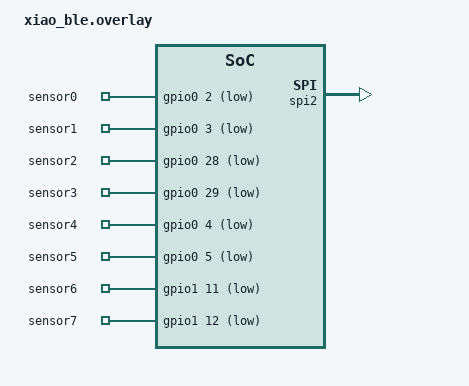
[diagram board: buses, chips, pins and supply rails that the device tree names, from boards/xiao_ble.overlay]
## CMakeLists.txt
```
cmake_minimum_required(VERSION 3.20.0)
find_package(Zephyr REQUIRED HINTS $ENV{ZEPHYR_BASE})
project(bme690_logger)

target_sources(app PRIVATE src/main.c src/bme690_zephyr.c ../common/bme690.c)
target_include_directories(app PRIVATE src ../common)
```

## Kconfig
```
source "Kconfig.zephyr"

config BME690_LOG_LEVEL
	int "BME690 driver log level"
	default 3
	help
	  0 none, 1 error, 2 warning, 3 info, 4 debug.
```

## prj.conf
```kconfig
# Sensors sit on a shared SPI bus, one chip select each.
CONFIG_SPI=y
CONFIG_GPIO=y

# Compensation is double-precision in Bosch's reference; keep it that way so
# readings match the desktop tooling bit for bit.
CONFIG_FPU=y
CONFIG_CBPRINTF_FP_SUPPORT=y

# Console over USB CDC-ACM: the XIAO has no spare UART pins once eight chip
# selects are allocated.
CONFIG_USB_DEVICE_STACK=y
CONFIG_USB_DEVICE_PRODUCT="BME690 logger"
CONFIG_USB_CDC_ACM=y
CONFIG_UART_LINE_CTRL=y
CONFIG_CONSOLE=y
CONFIG_UART_CONSOLE=y

CONFIG_LOG=y
CONFIG_LOG_MODE_IMMEDIATE=y

CONFIG_MAIN_STACK_SIZE=4096
CONFIG_HEAP_MEM_POOL_SIZE=4096
```

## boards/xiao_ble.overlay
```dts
/*
 * Seeed XIAO nRF52840 + BME690 8x Shuttle Board 3.0.
 *
 * Pin budget is exact: D8-D10 carry SPI, D0-D7 are the eight chip selects.
 *
 *   shuttle Row 1 pin 1  Vdd     -> 3V3
 *   shuttle Row 1 pin 2  VddIO   -> 3V3
 *   shuttle Row 1 pin 3  Gnd     -> GND
 *   shuttle Row 2 pin 2  SCK     -> D8  (P1.13)
 *   shuttle Row 2 pin 3  SDO     -> D9  (P1.14)  sensor out, MCU MISO
 *   shuttle Row 2 pin 4  SDI     -> D10 (P1.15)  sensor in,  MCU MOSI
 *
 *   sensor 0  Row 1 pin 4  GPIO0 -> D0 (P0.02)
 *   sensor 1  Row 1 pin 5  GPIO1 -> D1 (P0.03)
 *   sensor 2  Row 1 pin 6  GPIO2 -> D2 (P0.28)
 *   sensor 3  Row 1 pin 7  GPIO3 -> D3 (P0.29)
 *   sensor 4  Row 2 pin 5  GPIO4 -> D4 (P0.04)
 *   sensor 5  Row 2 pin 6  GPIO5 -> D5 (P0.05)
 *   sensor 6  Row 2 pin 7  GPIO6 -> D6 (P1.11)
 *   sensor 7  Row 2 pin 8  GPIO7 -> D7 (P1.12)
 */

&spi2 {
	status = "okay";
	cs-gpios = <&gpio0 2  GPIO_ACTIVE_LOW>;
};

/ {
	bme690_shuttle: bme690-shuttle {
		compatible = "gpio-keys";   /* convenient container for a gpio list */
		cs0: cs_0 { gpios = <&gpio0 2  GPIO_ACTIVE_LOW>; label = "sensor0"; };
		cs1: cs_1 { gpios = <&gpio0 3  GPIO_ACTIVE_LOW>; label = "sensor1"; };
		cs2: cs_2 { gpios = <&gpio0 28 GPIO_ACTIVE_LOW>; label = "sensor2"; };
		cs3: cs_3 { gpios = <&gpio0 29 GPIO_ACTIVE_LOW>; label = "sensor3"; };
		cs4: cs_4 { gpios = <&gpio0 4  GPIO_ACTIVE_LOW>; label = "sensor4"; };
		cs5: cs_5 { gpios = <&gpio0 5  GPIO_ACTIVE_LOW>; label = "sensor5"; };
		cs6: cs_6 { gpios = <&gpio1 11 GPIO_ACTIVE_LOW>; label = "sensor6"; };
		cs7: cs_7 { gpios = <&gpio1 12 GPIO_ACTIVE_LOW>; label = "sensor7"; };
	};
};
```

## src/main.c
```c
/*
 * BME690 8x shuttle board logger.
 *
 * Runs all eight sensors in parallel mode on a ten-step heater profile and
 * streams one record per heater step over USB serial. Each sensor walks its
 * profile autonomously and tags every result with the step index, so the MCU
 * only has to poll often enough not to miss a step.
 *
 * SPDX-License-Identifier: MIT
 */
#include "bme690.h"
#include "bme690_zephyr.h"
#include <zephyr/kernel.h>
#include <zephyr/device.h>
#include <zephyr/drivers/gpio.h>
#include <zephyr/drivers/spi.h>
#include <zephyr/logging/log.h>
#include <zephyr/usb/usb_device.h>

LOG_MODULE_REGISTER(main, LOG_LEVEL_INF);

#define NUM_SENSORS 8
#define POLL_MS     40

/* HP-354, Bosch's standard scanning profile: ten steps, 140 ms time base,
 * 77 * 140 ms = 10.78 s per cycle. */
#define HEATER_TIME_BASE_MS 140
static const uint16_t hp354_temp[BME690_PROFILE_LEN] = {
	320, 100, 100, 100, 200, 200, 200, 320, 320, 320,
};
static const uint16_t hp354_dur[BME690_PROFILE_LEN] = {
	5, 2, 10, 30, 5, 5, 5, 5, 5, 5,
};

#define CS_SPEC(node) GPIO_DT_SPEC_GET(DT_NODELABEL(node), gpios)
static const struct gpio_dt_spec cs_pins[NUM_SENSORS] = {
	CS_SPEC(cs0), CS_SPEC(cs1), CS_SPEC(cs2), CS_SPEC(cs3),
	CS_SPEC(cs4), CS_SPEC(cs5), CS_SPEC(cs6), CS_SPEC(cs7),
};

static struct bme690_dev sensors[NUM_SENSORS];
static struct bme690_zephyr_ctx sensor_ctx[NUM_SENSORS];
static uint8_t last_meas[NUM_SENSORS];
static bool    have_last[NUM_SENSORS];
static struct bme690_data pending[NUM_SENSORS];
static bool    have_pending[NUM_SENSORS];

static void emit(uint8_t idx, const struct bme690_data *d, int64_t t_ms)
{
	/* One line per heater step, in the column order the .bmerawdata writer
	 * expects. Pressure is converted to hPa here, as AI-Studio wants. */
	printk("D,%u,%lld,%.4f,%.4f,%.4f,%.2f,%u,%u\n",
	       idx, (long long)t_ms,
	       (double)d->temperature,
	       (double)d->pressure / 100.0,
	       (double)d->humidity,
	       (double)d->gas_resistance,
	       d->gas_index,
	       (d->status & BME690_STATUS_HEAT_STAB) ? 1U : 0U);
}

int main(void)
{
	const struct device *spi = DEVICE_DT_GET(DT_NODELABEL(spi2));
	struct bme690_conf conf = {
		.os_hum = BME690_OS_1X,
		.os_temp = BME690_OS_2X,
		.os_pres = BME690_OS_16X,
		.filter = BME690_FILTER_OFF,
		.odr = BME690_ODR_NONE,
	};
	struct bme690_heatr_conf heat = { .enable = true };
	uint32_t meas_dur_ms;
	int found = 0;

	if (IS_ENABLED(CONFIG_USB_DEVICE_STACK)) {
		usb_enable(NULL);
		k_msleep(2000);   /* let the host enumerate before we talk */
	}

	if (!device_is_ready(spi)) {
		LOG_ERR("SPI not ready");
		return -ENODEV;
	}

	meas_dur_ms = bme690_get_meas_dur_us(&conf, BME690_PARALLEL_MODE) / 1000U;
	if (HEATER_TIME_BASE_MS <= meas_dur_ms) {
		LOG_ERR("time base %d ms shorter than measurement %u ms",
			HEATER_TIME_BASE_MS, meas_dur_ms);
		return -EINVAL;
	}
	heat.shared_heatr_dur = HEATER_TIME_BASE_MS - meas_dur_ms;
	memcpy(heat.temp_prof, hp354_temp, sizeof(hp354_temp));
	memcpy(heat.dur_prof, hp354_dur, sizeof(hp354_dur));

	/* Bring-up is deliberately forgiving: wiring eight chip selects one at
	 * a time is normal, so report what answered and keep retrying rather
	 * than refusing to start. Watch this while you wire. */
	while (found == 0) {
		printk("\n--- BME690 shuttle bring-up ---\n");
		for (int i = 0; i < NUM_SENSORS; i++) {
			struct bme690_dev *d = &sensors[i];

			d->index = i;
			d->amb_temp = 25;
			if (bme690_zephyr_attach(d, &sensor_ctx[i], spi,
						 cs_pins[i], 5000000) != 0 ||
			    bme690_init(d) != 0) {
				printk("  sensor %d  --  no answer\n", i);
				d->chip_id = 0;
				continue;
			}
			printk("  sensor %d  OK  chip 0x%02x  variant %u  "
			       "par_t1=%u par_g1=%d\n",
			       i, d->chip_id, d->variant_id,
			       d->calib.par_t1, d->calib.par_g1);
			found++;
		}

		if (found == 0) {
			printk("\nNothing answered. Check:\n"
			       "  3V3 on shuttle Row 1 pins 1 (Vdd) and 2 (VddIO)\n"
			       "  GND on Row 1 pin 3\n"
			       "  SCK Row 2 pin 2 -> D8, SDO Row 2 pin 3 -> D9, "
			       "SDI Row 2 pin 4 -> D10\n"
			       "  at least one chip select, e.g. Row 1 pin 4 -> D0\n"
			       "Retrying in 3 s; wire as you watch.\n");
			k_msleep(3000);
		}
	}

	printk("\n%d of %d sensors responding.\n", found, NUM_SENSORS);

	for (int i = 0; i < NUM_SENSORS; i++) {
		struct bme690_dev *d = &sensors[i];

		if (d->chip_id != BME690_CHIP_ID) {
			continue;
		}
		if (bme690_set_conf(d, &conf) != 0 ||
		    bme690_set_heatr_conf(d, BME690_PARALLEL_MODE, &heat) != 0 ||
		    bme690_set_op_mode(d, BME690_PARALLEL_MODE) != 0) {
			LOG_ERR("sensor %d configuration failed", i);
			d->chip_id = 0;
			found--;
		}
	}

	LOG_INF("%d sensors scanning, shared heater duration %u ms",
		found, heat.shared_heatr_dur);
	printk("# sensor,t_ms,temp_C,press_hPa,hum_pct,gas_ohm,step,heat_stable\n");

	int64_t t0 = k_uptime_get();

	while (1) {
		for (int i = 0; i < NUM_SENSORS; i++) {
			struct bme690_data got[3];
			uint8_t n = 0;

			if (sensors[i].chip_id != BME690_CHIP_ID) {
				continue;
			}
			if (bme690_get_data(&sensors[i], BME690_PARALLEL_MODE,
					    got, &n) != 0) {
				continue;
			}
			for (int j = 0; j < n; j++) {
				if (have_last[i] && got[j].meas_index == last_meas[i]) {
					continue;
				}
				last_meas[i] = got[j].meas_index;
				have_last[i] = true;

				/* The sensor measures once per time base, so a
				 * step lasting N time bases yields N readings
				 * with the same index. AI-Studio wants exactly
				 * one point per step, so emit the last reading
				 * of each step -- the heater has then been
				 * longest at that temperature. */
				if (have_pending[i] &&
				    pending[i].gas_index != got[j].gas_index) {
					emit(i, &pending[i], k_uptime_get() - t0);
				}
				pending[i] = got[j];
				have_pending[i] = true;
			}
		}
		k_msleep(POLL_MS);
	}
	return 0;
}
```

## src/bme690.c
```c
/*
 * BME690 gas sensor driver for Zephyr.
 *
 * Ported from Bosch Sensortec's BME690_SensorAPI (BSD-3-Clause), float
 * compensation path. Verified against a working Python port that produced
 * plausible readings from eight sensors simultaneously.
 *
 * SPDX-License-Identifier: MIT
 */
#include "bme690.h"
#include <zephyr/kernel.h>
#include <zephyr/logging/log.h>
#include <string.h>

LOG_MODULE_REGISTER(bme690, CONFIG_BME690_LOG_LEVEL);

/* registers */
#define REG_COEFF3        0x00
#define REG_FIELD0        0x1D
#define REG_IDAC_HEAT0    0x50
#define REG_RES_HEAT0     0x5A
#define REG_GAS_WAIT0     0x64
#define REG_SHD_HEATR_DUR 0x6E
#define REG_CTRL_GAS_0    0x70
#define REG_CTRL_GAS_1    0x71
#define REG_CTRL_MEAS     0x74
#define REG_MEM_PAGE      0xF3
#define REG_COEFF1        0x8A
#define REG_CHIP_ID       0xD0
#define REG_SOFT_RESET    0xE0
#define REG_COEFF2        0xE1
#define REG_VARIANT_ID    0xF0

#define SOFT_RESET_CMD    0xB6
#define LEN_COEFF1        23
#define LEN_COEFF2        14
#define LEN_COEFF3        5
#define LEN_COEFF_ALL     42
#define LEN_FIELD         17

#define MEM_PAGE0         0x10
#define MEM_PAGE1         0x00
#define MEM_PAGE_MSK      0x10
#define SPI_RD_MSK        0x80
#define SPI_WR_MSK        0x7F

#define NBCONV_MSK        0x0F
#define FILTER_MSK        0x1C
#define FILTER_POS        2
#define ODR3_MSK          0x80
#define ODR3_POS          7
#define ODR20_MSK         0xE0
#define ODR20_POS         5
#define OST_MSK           0xE0
#define OST_POS           5
#define OSP_MSK           0x1C
#define OSP_POS           2
#define OSH_MSK           0x07
#define HCTRL_MSK         0x08
#define HCTRL_POS         3
#define RUN_GAS_MSK       0x30
#define RUN_GAS_POS       5
#define MODE_MSK          0x03
#define RHRANGE_MSK       0x30
#define RSERROR_MSK       0xF0
#define GAS_INDEX_MSK     0x0F
#define GAS_RANGE_MSK     0x0F

/* calibration byte offsets within the 42-byte block */
#define IDX_DTK1_C_LSB 0
#define IDX_DTK1_C_MSB 1
#define IDX_DTK2_C     2
#define IDX_S_C_LSB    4
#define IDX_S_C_MSB    5
#define IDX_TK1S_C_LSB 6
#define IDX_TK1S_C_MSB 7
#define IDX_TK2S_C     8
#define IDX_TK3S_C     9
#define IDX_O_C_LSB    10
#define IDX_O_C_MSB    11
#define IDX_TK10_C_LSB 12
#define IDX_TK10_C_MSB 13
#define IDX_TK20_C     14
#define IDX_TK30_C     15
#define IDX_NLS_C_LSB  18
#define IDX_NLS_C_MSB  19
#define IDX_TKNLS_C    20
#define IDX_NLS3_C     21
#define IDX_S_H_MSB    23
#define IDX_S_H_LSB    24
#define IDX_O_H_LSB    24
#define IDX_O_H_MSB    25
#define IDX_TK10H_C    26
#define IDX_PAR_H4     27
#define IDX_PAR_H3     28
#define IDX_HLIN2_C    29
#define IDX_DO_C_LSB   31
#define IDX_DO_C_MSB   32
#define IDX_TKR_C_LSB  33
#define IDX_TKR_C_MSB  34
#define IDX_RO_C       35
#define IDX_T_AMB_COMP 36
#define IDX_RES_HEAT_VAL   37
#define IDX_RES_HEAT_RANGE 39
#define IDX_RANGE_SW_ERR   41

#define SET_BITS(reg, msk, pos, val) (((reg) & ~(msk)) | (((val) << (pos)) & (msk)))
#define SET_BITS_POS_0(reg, msk, val) (((reg) & ~(msk)) | ((val) & (msk)))
#define CONCAT(msb, lsb) (((uint16_t)(msb) << 8) | (lsb))

/* ---------------------------------------------------------------- transport */

static int spi_xfer(struct bme690_dev *dev, uint8_t reg,
		    uint8_t *rx, const uint8_t *tx, size_t len)
{
	uint8_t hdr = reg;
	const struct spi_buf tx_bufs[] = {
		{ .buf = &hdr, .len = 1 },
		{ .buf = (void *)tx, .len = tx ? len : 0 },
	};
	const struct spi_buf_set tx_set = {
		.buffers = tx_bufs, .count = tx ? 2 : 1,
	};
	struct spi_buf rx_bufs[] = {
		{ .buf = NULL, .len = 1 },
		{ .buf = rx, .len = rx ? len : 0 },
	};
	const struct spi_buf_set rx_set = { .buffers = rx_bufs, .count = 2 };
	int rc;

	gpio_pin_set_dt(&dev->cs, 1);   /* active low, configured ACTIVE_LOW */
	rc = rx ? spi_transceive(dev->spi, &dev->spi_cfg, &tx_set, &rx_set)
		: spi_write(dev->spi, &dev->spi_cfg, &tx_set);
	gpio_pin_set_dt(&dev->cs, 0);
	return rc;
}

/* The BME690 keeps registers in two SPI memory pages selected by bit 4 of
 * 0xF3. Registers above 0x7F live in page 1, the rest in page 0. */
static int set_mem_page(struct bme690_dev *dev, uint8_t reg)
{
	uint8_t page = (reg > 0x7F) ? MEM_PAGE1 : MEM_PAGE0;
	uint8_t val;
	int rc;

	if (page == dev->mem_page) {
		return 0;
	}
	rc = spi_xfer(dev, REG_MEM_PAGE | SPI_RD_MSK, &val, NULL, 1);
	if (rc) {
		return rc;
	}
	val = (val & ~MEM_PAGE_MSK) | (page & MEM_PAGE_MSK);
	rc = spi_xfer(dev, REG_MEM_PAGE & SPI_WR_MSK, NULL, &val, 1);
	if (rc == 0) {
		dev->mem_page = page;
	}
	return rc;
}

static int get_regs(struct bme690_dev *dev, uint8_t reg, uint8_t *buf, size_t len)
{
	int rc = set_mem_page(dev, reg);

	return rc ? rc : spi_xfer(dev, reg | SPI_RD_MSK, buf, NULL, len);
}

static int set_reg(struct bme690_dev *dev, uint8_t reg, uint8_t val)
{
	int rc = set_mem_page(dev, reg);

	return rc ? rc : spi_xfer(dev, reg & SPI_WR_MSK, NULL, &val, 1);
}

/* ------------------------------------------------------------ compensation */

static float calc_temperature(struct bme690_dev *dev, uint32_t adc)
{
	const struct bme690_calib *k = &dev->calib;
	int32_t do1 = (int32_t)k->par_t1 << 8;
	double dtk1 = (double)k->par_t2 / (double)(1ULL << 30);
	double dtk2 = (double)k->par_t3 / (double)(1ULL << 48);
	int32_t cf = (int32_t)adc - do1;

	return (float)((double)cf * dtk1 + (double)cf * (double)cf * dtk2);
}

static float calc_pressure(struct bme690_dev *dev, uint32_t adc, float t)
{
	const struct bme690_calib *k = &dev->calib;
	uint32_t o = (uint32_t)k->par_p1 * (uint32_t)(1ULL << 3);
	double tk10 = (double)k->par_p2 / (double)(1ULL << 6);
	double tk20 = (double)k->par_p3 / (double)(1ULL << 8);
	double tk30 = (double)k->par_p4 / (double)(1ULL << 15);
	double s    = ((double)k->par_p5 - (double)(1ULL << 14)) / (double)(1ULL << 20);
	double tk1s = ((double)k->par_p6 - (double)(1ULL << 14)) / (double)(1ULL << 29);
	double tk2s = (double)k->par_p7 / (double)(1ULL << 32);
	double tk3s = (double)k->par_p8 / (double)(1ULL << 37);
	double nls  = (double)k->par_p9 / (double)(1ULL << 48);
	double tknls = (double)k->par_p10 / (double)(1ULL << 48);
	/* 2^65 exceeds double's exponent handling in the reference code, so it
	 * is split the same way there: A^(x+y) = A^x * A^y */
	double nls3 = (double)k->par_p11 / ((double)(1ULL << 35) * (double)(1ULL << 30));
	double t2 = (double)t * t, t3 = t2 * t;

	double tmp1 = (double)o + tk10 * t + tk20 * t2 + tk30 * t3;
	double tmp2 = (double)adc * (s + tk1s * t + tk2s * t2 + tk3s * t3);
	double tmp3 = (double)adc * (double)adc * (nls + tknls * t);
	double tmp4 = (double)adc * (double)adc * (double)adc * nls3;

	return (float)(tmp1 + tmp2 + tmp3 + tmp4);
}

static float calc_humidity(struct bme690_dev *dev, uint16_t adc, float t)
{
	const struct bme690_calib *k = &dev->calib;
	double tc = (double)t * 5120.0 - 76800.0;
	double oh    = (double)k->par_h1 * (double)(1ULL << 6);
	double sh    = (double)k->par_h5 / (double)(1ULL << 16);
	double tk10h = (double)k->par_h2 / (double)(1ULL << 14);
	double tk1sh = (double)k->par_h4 / (double)(1ULL << 26);
	double tk2sh = (double)k->par_h3 / (double)(1ULL << 26);
	double hlin2 = (double)k->par_h6 / (double)(1ULL << 19);
	double hoff  = (double)adc - (oh + tk10h * tc);
	double hsens = hoff * sh * (1.0 + tk1sh * tc + tk1sh * tk2sh * tc * tc);
	double hum   = hsens * (1.0 - hlin2 * hsens);
	int32_t scaled = (int32_t)(hum * 1000.0);

	if (scaled >= 100000) {
		return 100.0f;
	}
	if (scaled < 0) {
		return 0.0f;
	}
	return (float)hum;
}

static float calc_gas_resistance(uint16_t adc, uint8_t range)
{
	uint32_t var1 = UINT32_C(262144) >> range;
	int32_t var2 = 4096 + ((int32_t)adc - 512) * 3;

	return 1000000.0f * (float)var1 / (float)var2;
}

static uint8_t calc_res_heat(struct bme690_dev *dev, uint16_t temp)
{
	const struct bme690_calib *k = &dev->calib;
	float v1, v2, v3, v4, v5;

	if (temp > 400) {
		temp = 400;
	}
	v1 = ((float)k->par_g1 / 16.0f) + 49.0f;
	v2 = (((float)k->par_g2 / 32768.0f) * 0.0005f) + 0.00235f;
	v3 = (float)k->par_g3 / 1024.0f;
	v4 = v1 * (1.0f + v2 * (float)temp);
	v5 = v4 + v3 * (float)dev->amb_temp;
	return (uint8_t)(3.4f * ((v5 * (4.0f / (4.0f + (float)k->res_heat_range)) *
				  (1.0f / (1.0f + (float)k->res_heat_val * 0.002f))) - 25.0f));
}

static uint8_t calc_heatr_dur_shared(uint16_t dur)
{
	uint8_t factor = 0;

	if (dur >= 0x783) {
		return 0xFF;
	}
	dur = (uint16_t)(((uint32_t)dur * 1000) / 477);  /* 0.477 ms steps */
	while (dur > 0x3F) {
		dur >>= 2;
		factor++;
	}
	return (uint8_t)(dur + factor * 64);
}

/* ------------------------------------------------------------------- calib */

static int read_calib(struct bme690_dev *dev)
{
	uint8_t c[LEN_COEFF_ALL];
	struct bme690_calib *k = &dev->calib;
	int rc;
	int16_t h;

	rc = get_regs(dev, REG_COEFF1, c, LEN_COEFF1);
	if (rc == 0) {
		rc = get_regs(dev, REG_COEFF2, &c[LEN_COEFF1], LEN_COEFF2);
	}
	if (rc == 0) {
		rc = get_regs(dev, REG_COEFF3, &c[LEN_COEFF1 + LEN_COEFF2], LEN_COEFF3);
	}
	if (rc) {
		return rc;
	}

	k->par_t1 = CONCAT(c[IDX_DO_C_MSB], c[IDX_DO_C_LSB]);
	k->par_t2 = CONCAT(c[IDX_DTK1_C_MSB], c[IDX_DTK1_C_LSB]);
	k->par_t3 = (int8_t)c[IDX_DTK2_C];

	k->par_p5 = (int16_t)CONCAT(c[IDX_S_C_MSB], c[IDX_S_C_LSB]);
	k->par_p6 = (int16_t)CONCAT(c[IDX_TK1S_C_MSB], c[IDX_TK1S_C_LSB]);
	k->par_p7 = (int8_t)c[IDX_TK2S_C];
	k->par_p8 = (int8_t)c[IDX_TK3S_C];
	k->par_p1 = (int16_t)CONCAT(c[IDX_O_C_MSB], c[IDX_O_C_LSB]);
	k->par_p2 = CONCAT(c[IDX_TK10_C_MSB], c[IDX_TK10_C_LSB]);
	k->par_p3 = (int8_t)c[IDX_TK20_C];
	k->par_p4 = (int8_t)c[IDX_TK30_C];
	k->par_p9 = (int16_t)CONCAT(c[IDX_NLS_C_MSB], c[IDX_NLS_C_LSB]);
	k->par_p10 = (int8_t)c[IDX_TKNLS_C];
	k->par_p11 = (int8_t)c[IDX_NLS3_C];

	h = (int16_t)(((int16_t)c[IDX_S_H_MSB] << 4) | (c[IDX_S_H_LSB] >> 4));
	k->par_h5 = (h > 2047) ? (int16_t)(h - 4096) : h;
	h = (int16_t)(((int16_t)c[IDX_O_H_MSB] << 4) | (c[IDX_O_H_LSB] & 0x0F));
	k->par_h1 = (h > 2047) ? (int16_t)(h - 4096) : h;
	k->par_h2 = (int8_t)c[IDX_TK10H_C];
	k->par_h4 = (int8_t)c[IDX_PAR_H4];
	k->par_h3 = c[IDX_PAR_H3];
	k->par_h6 = c[IDX_HLIN2_C];

	k->par_g1 = (int8_t)c[IDX_RO_C];
	k->par_g2 = (int16_t)CONCAT(c[IDX_TKR_C_MSB], c[IDX_TKR_C_LSB]);
	k->par_g3 = (int8_t)c[IDX_T_AMB_COMP];

	k->res_heat_range = (c[IDX_RES_HEAT_RANGE] & RHRANGE_MSK) >> 4;
	k->res_heat_val = (int8_t)c[IDX_RES_HEAT_VAL];
	k->range_sw_err = (int8_t)((int8_t)(c[IDX_RANGE_SW_ERR] & RSERROR_MSK) / 16);
	return 0;
}

/* --------------------------------------------------------------- public API */

int bme690_soft_reset(struct bme690_dev *dev)
{
	int rc;

	dev->mem_page = -1;
	rc = set_reg(dev, REG_SOFT_RESET, SOFT_RESET_CMD);
	k_msleep(10);
	dev->mem_page = -1;
	return rc;
}

int bme690_init(struct bme690_dev *dev)
{
	int rc;

	if (!gpio_is_ready_dt(&dev->cs)) {
		return -ENODEV;
	}
	rc = gpio_pin_configure_dt(&dev->cs, GPIO_OUTPUT_INACTIVE);
	if (rc) {
		return rc;
	}
	dev->mem_page = -1;

	rc = bme690_soft_reset(dev);
	if (rc) {
		return rc;
	}
	rc = get_regs(dev, REG_CHIP_ID, &dev->chip_id, 1);
	if (rc) {
		return rc;
	}
	if (dev->chip_id != BME690_CHIP_ID) {
		LOG_ERR("sensor %u: chip id 0x%02x, expected 0x%02x",
			dev->index, dev->chip_id, BME690_CHIP_ID);
		return -ENODEV;
	}
	rc = get_regs(dev, REG_VARIANT_ID, &dev->variant_id, 1);
	if (rc) {
		return rc;
	}
	return read_calib(dev);
}

int bme690_get_op_mode(struct bme690_dev *dev, uint8_t *op_mode)
{
	uint8_t v;
	int rc = get_regs(dev, REG_CTRL_MEAS, &v, 1);

	if (rc == 0) {
		*op_mode = v & MODE_MSK;
	}
	return rc;
}

int bme690_set_op_mode(struct bme690_dev *dev, uint8_t op_mode)
{
	uint8_t tmp, pow;
	int rc;

	/* always drop to sleep before switching */
	do {
		rc = get_regs(dev, REG_CTRL_MEAS, &tmp, 1);
		if (rc) {
			return rc;
		}
		pow = tmp & MODE_MSK;
		if (pow != BME690_SLEEP_MODE) {
			rc = set_reg(dev, REG_CTRL_MEAS, tmp & ~MODE_MSK);
			if (rc) {
				return rc;
			}
			k_msleep(10);
		}
	} while (pow != BME690_SLEEP_MODE);

	if (op_mode != BME690_SLEEP_MODE) {
		return set_reg(dev, REG_CTRL_MEAS,
			       (tmp & ~MODE_MSK) | (op_mode & MODE_MSK));
	}
	return 0;
}

int bme690_set_conf(struct bme690_dev *dev, const struct bme690_conf *conf)
{
	uint8_t d[5];
	uint8_t odr20 = 0, odr3 = 1;
	uint8_t current;
	int rc;

	rc = bme690_get_op_mode(dev, &current);
	if (rc == 0) {
		rc = bme690_set_op_mode(dev, BME690_SLEEP_MODE);
	}
	if (rc == 0) {
		rc = get_regs(dev, REG_CTRL_GAS_1, d, 5);   /* 0x71..0x75 */
	}
	if (rc) {
		return rc;
	}

	if (conf->odr != BME690_ODR_NONE) {
		odr20 = conf->odr;
		odr3 = 0;
	}
	d[4] = SET_BITS(d[4], FILTER_MSK, FILTER_POS, conf->filter);
	d[3] = SET_BITS(d[3], OST_MSK, OST_POS, conf->os_temp);
	d[3] = SET_BITS(d[3], OSP_MSK, OSP_POS, conf->os_pres);
	d[1] = SET_BITS_POS_0(d[1], OSH_MSK, conf->os_hum);
	d[4] = SET_BITS(d[4], ODR20_MSK, ODR20_POS, odr20);
	d[0] = SET_BITS(d[0], ODR3_MSK, ODR3_POS, odr3);

	for (int i = 0; i < 5 && rc == 0; i++) {
		rc = set_reg(dev, 0x71 + i, d[i]);
	}
	if (rc == 0 && current != BME690_SLEEP_MODE) {
		rc = bme690_set_op_mode(dev, current);
	}
	return rc;
}

uint32_t bme690_get_meas_dur_us(const struct bme690_conf *conf, uint8_t op_mode)
{
	static const uint8_t cycles[6] = { 0, 1, 2, 4, 8, 16 };
	uint32_t n = cycles[conf->os_temp] + cycles[conf->os_pres] + cycles[conf->os_hum];
	uint32_t dur = n * 1963U + 477U * 4U + 477U * 5U;

	if (op_mode != BME690_PARALLEL_MODE) {
		dur += 1000U;   /* wake-up */
	}
	return dur;
}

int bme690_set_heatr_conf(struct bme690_dev *dev, uint8_t op_mode,
			  const struct bme690_heatr_conf *conf)
{
	uint8_t gas[2];
	uint8_t nb_conv = 0;
	int rc;

	rc = bme690_set_op_mode(dev, BME690_SLEEP_MODE);
	if (rc) {
		return rc;
	}

	if (op_mode == BME690_PARALLEL_MODE) {
		if (conf->shared_heatr_dur == 0) {
			return -EINVAL;
		}
		for (int i = 0; i < BME690_PROFILE_LEN; i++) {
			/* gas_wait_x is a single-byte multiplier of the shared
			 * duration. Truncating a larger value would silently
			 * shorten the step, so refuse instead. */
			if (conf->dur_prof[i] > 255) {
				LOG_ERR("step %d duration %u exceeds 255",
					i, conf->dur_prof[i]);
				return -EINVAL;
			}
			rc = set_reg(dev, REG_RES_HEAT0 + i,
				     calc_res_heat(dev, conf->temp_prof[i]));
			if (rc == 0) {
				rc = set_reg(dev, REG_GAS_WAIT0 + i,
					     (uint8_t)conf->dur_prof[i]);
			}
			if (rc) {
				return rc;
			}
		}
		nb_conv = BME690_PROFILE_LEN;
		rc = set_reg(dev, REG_SHD_HEATR_DUR,
			     calc_heatr_dur_shared(conf->shared_heatr_dur));
		if (rc) {
			return rc;
		}
	} else {
		return -ENOTSUP;
	}

	rc = get_regs(dev, REG_CTRL_GAS_0, gas, 2);
	if (rc) {
		return rc;
	}
	gas[0] = SET_BITS(gas[0], HCTRL_MSK, HCTRL_POS, conf->enable ? 0 : 1);
	gas[1] = SET_BITS_POS_0(gas[1], NBCONV_MSK, nb_conv);
	gas[1] = SET_BITS(gas[1], RUN_GAS_MSK, RUN_GAS_POS, conf->enable ? 1 : 0);

	rc = set_reg(dev, REG_CTRL_GAS_0, gas[0]);
	return rc ? rc : set_reg(dev, REG_CTRL_GAS_1, gas[1]);
}

int bme690_get_data(struct bme690_dev *dev, uint8_t op_mode,
		    struct bme690_data *out, uint8_t *n_out)
{
	uint8_t buf[LEN_FIELD * 3];
	uint8_t set_val[30];
	struct bme690_data all[3];
	int rc;

	*n_out = 0;
	if (op_mode != BME690_PARALLEL_MODE) {
		return -ENOTSUP;
	}
	rc = get_regs(dev, REG_FIELD0, buf, sizeof(buf));
	if (rc == 0) {
		rc = get_regs(dev, REG_IDAC_HEAT0, set_val, sizeof(set_val));
	}
	if (rc) {
		return rc;
	}

	for (int i = 0; i < 3; i++) {
		const uint8_t *f = &buf[i * LEN_FIELD];
		struct bme690_data *d = &all[i];
		uint32_t adc_p, adc_t;
		uint16_t adc_h, adc_g;
		uint8_t range;

		d->status = f[0] & BME690_STATUS_NEW_DATA;
		d->gas_index = f[0] & GAS_INDEX_MSK;
		d->meas_index = f[1];

		adc_p = ((uint32_t)f[2] << 16) | ((uint32_t)f[3] << 8) | f[4];
		adc_t = ((uint32_t)f[5] << 16) | ((uint32_t)f[6] << 8) | f[7];
		adc_h = ((uint16_t)f[8] << 8) | f[9];
		adc_g = ((uint16_t)f[15] << 2) | (f[16] >> 6);
		range = f[16] & GAS_RANGE_MSK;

		d->status |= f[16] & BME690_STATUS_GAS_VALID;
		d->status |= f[16] & BME690_STATUS_HEAT_STAB;

		d->idac     = set_val[d->gas_index];
		d->res_heat = set_val[10 + d->gas_index];
		d->gas_wait = set_val[20 + d->gas_index];

		d->temperature = calc_temperature(dev, adc_t);
		d->pressure    = calc_pressure(dev, adc_p, d->temperature);
		d->humidity    = calc_humidity(dev, adc_h, d->temperature);
		d->gas_resistance = calc_gas_resistance(adc_g, range);
	}

	/* order by measurement index, then keep the ones carrying new data */
	for (int i = 0; i < 3; i++) {
		for (int j = i + 1; j < 3; j++) {
			if (all[j].meas_index < all[i].meas_index) {
				struct bme690_data t = all[i];

				all[i] = all[j];
				all[j] = t;
			}
		}
	}
	for (int i = 0; i < 3; i++) {
		if (all[i].status & BME690_STATUS_NEW_DATA) {
			out[(*n_out)++] = all[i];
		}
	}
	return 0;
}
```

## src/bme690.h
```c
/*
 * BME690 gas sensor driver for Zephyr.
 *
 * Register layout and compensation are ported from Bosch Sensortec's
 * BME690_SensorAPI (bme69x.c / bme69x_defs.h), BSD-3-Clause, using the
 * floating-point compensation path.
 *
 * SPDX-License-Identifier: MIT
 */
#ifndef BME690_H_
#define BME690_H_

#include <zephyr/device.h>
#include <zephyr/drivers/gpio.h>
#include <zephyr/drivers/spi.h>
#include <stdint.h>

#define BME690_CHIP_ID            0x61

/* operating modes */
#define BME690_SLEEP_MODE         0
#define BME690_FORCED_MODE        1
#define BME690_PARALLEL_MODE      2
#define BME690_SEQUENTIAL_MODE    3

/* oversampling */
#define BME690_OS_NONE            0
#define BME690_OS_1X              1
#define BME690_OS_2X              2
#define BME690_OS_4X              3
#define BME690_OS_8X              4
#define BME690_OS_16X             5

/* IIR filter */
#define BME690_FILTER_OFF         0

/* output data rate */
#define BME690_ODR_NONE           8

/* A heater profile is always ten steps: that is what BME AI-Studio's
 * importer requires, and what the hardware's gas_wait_0..9 registers hold. */
#define BME690_PROFILE_LEN        10

struct bme690_calib {
	uint16_t par_t1, par_t2;
	int8_t   par_t3;
	int16_t  par_p1, par_p5, par_p6, par_p9;
	uint16_t par_p2;
	int8_t   par_p3, par_p4, par_p7, par_p8, par_p10, par_p11;
	int16_t  par_h1, par_h5;
	int8_t   par_h2, par_h4;
	uint8_t  par_h3, par_h6;
	int8_t   par_g1, par_g3;
	int16_t  par_g2;
	uint8_t  res_heat_range;
	int8_t   res_heat_val;
	int8_t   range_sw_err;
};

struct bme690_conf {
	uint8_t os_hum, os_temp, os_pres;
	uint8_t filter;
	uint8_t odr;
};

struct bme690_heatr_conf {
	bool     enable;
	uint16_t temp_prof[BME690_PROFILE_LEN];   /* degC */
	uint16_t dur_prof[BME690_PROFILE_LEN];    /* multiples of the shared duration, 0..255 */
	uint16_t shared_heatr_dur;                /* ms */
};

struct bme690_data {
	uint8_t  status;
	uint8_t  gas_index;     /* heater profile step, 0..9 */
	uint8_t  meas_index;
	float    temperature;   /* degC */
	float    pressure;      /* Pa -- divide by 100 for the hPa AI-Studio wants */
	float    humidity;      /* %RH */
	float    gas_resistance;/* ohm */
	uint8_t  idac, res_heat, gas_wait;
};

/* One sensor on a shared SPI bus with its own chip select. */
struct bme690_dev {
	const struct device     *spi;
	struct spi_config        spi_cfg;
	struct gpio_dt_spec      cs;
	struct bme690_calib      calib;
	uint8_t                  chip_id;
	uint8_t                  variant_id;
	int8_t                   mem_page;
	int8_t                   amb_temp;
	uint8_t                  index;
};

#define BME690_STATUS_NEW_DATA    0x80
#define BME690_STATUS_GAS_VALID   0x20
#define BME690_STATUS_HEAT_STAB   0x10

int bme690_init(struct bme690_dev *dev);
int bme690_soft_reset(struct bme690_dev *dev);
int bme690_set_conf(struct bme690_dev *dev, const struct bme690_conf *conf);
int bme690_set_heatr_conf(struct bme690_dev *dev, uint8_t op_mode,
			  const struct bme690_heatr_conf *conf);
int bme690_set_op_mode(struct bme690_dev *dev, uint8_t op_mode);
int bme690_get_op_mode(struct bme690_dev *dev, uint8_t *op_mode);
uint32_t bme690_get_meas_dur_us(const struct bme690_conf *conf, uint8_t op_mode);

/* Reads the three field registers; returns how many carried new data,
 * ordered by measurement index. out must hold at least 3 entries. */
int bme690_get_data(struct bme690_dev *dev, uint8_t op_mode,
		    struct bme690_data *out, uint8_t *n_out);

#endif /* BME690_H_ */
```

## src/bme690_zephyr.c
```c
/* Zephyr SPI/GPIO transport for the portable BME690 core.
 * SPDX-License-Identifier: MIT */
#include "bme690_zephyr.h"
#include <zephyr/kernel.h>

static int z_read(void *vctx, uint8_t reg, uint8_t *buf, size_t len)
{
	struct bme690_zephyr_ctx *ctx = vctx;
	uint8_t hdr = reg;
	const struct spi_buf tx_bufs[] = { { .buf = &hdr, .len = 1 } };
	const struct spi_buf_set tx_set = { .buffers = tx_bufs, .count = 1 };
	struct spi_buf rx_bufs[] = {
		{ .buf = NULL, .len = 1 },
		{ .buf = buf, .len = len },
	};
	const struct spi_buf_set rx_set = { .buffers = rx_bufs, .count = 2 };
	int rc;

	gpio_pin_set_dt(&ctx->cs, 1);
	rc = spi_transceive(ctx->spi, &ctx->spi_cfg, &tx_set, &rx_set);
	gpio_pin_set_dt(&ctx->cs, 0);
	return rc;
}

static int z_write(void *vctx, uint8_t reg, const uint8_t *buf, size_t len)
{
	struct bme690_zephyr_ctx *ctx = vctx;
	uint8_t hdr = reg;
	const struct spi_buf tx_bufs[] = {
		{ .buf = &hdr, .len = 1 },
		{ .buf = (void *)buf, .len = len },
	};
	const struct spi_buf_set tx_set = { .buffers = tx_bufs, .count = 2 };
	int rc;

	gpio_pin_set_dt(&ctx->cs, 1);
	rc = spi_write(ctx->spi, &ctx->spi_cfg, &tx_set);
	gpio_pin_set_dt(&ctx->cs, 0);
	return rc;
}

static void z_delay_ms(uint32_t ms)
{
	k_msleep(ms);
}

int bme690_zephyr_attach(struct bme690_dev *dev, struct bme690_zephyr_ctx *ctx,
			 const struct device *spi, struct gpio_dt_spec cs,
			 uint32_t freq_hz)
{
	int rc;

	if (!gpio_is_ready_dt(&cs)) {
		return -ENODEV;
	}
	rc = gpio_pin_configure_dt(&cs, GPIO_OUTPUT_INACTIVE);
	if (rc) {
		return rc;
	}
	ctx->spi = spi;
	ctx->cs = cs;
	ctx->spi_cfg.frequency = freq_hz;
	ctx->spi_cfg.operation = SPI_WORD_SET(8) | SPI_TRANSFER_MSB |
				 SPI_OP_MODE_MASTER;

	dev->read = z_read;
	dev->write = z_write;
	dev->delay_ms = z_delay_ms;
	dev->ctx = ctx;
	return 0;
}
```

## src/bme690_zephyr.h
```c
/* Zephyr SPI/GPIO transport for the portable BME690 core.
 * SPDX-License-Identifier: MIT */
#ifndef BME690_ZEPHYR_H_
#define BME690_ZEPHYR_H_

#include "bme690.h"
#include <zephyr/device.h>
#include <zephyr/drivers/gpio.h>
#include <zephyr/drivers/spi.h>

struct bme690_zephyr_ctx {
	const struct device *spi;
	struct spi_config    spi_cfg;
	struct gpio_dt_spec  cs;
};

/* Wires ctx into dev and configures the chip select. */
int bme690_zephyr_attach(struct bme690_dev *dev, struct bme690_zephyr_ctx *ctx,
			 const struct device *spi, struct gpio_dt_spec cs,
			 uint32_t freq_hz);

#endif /* BME690_ZEPHYR_H_ */
```
